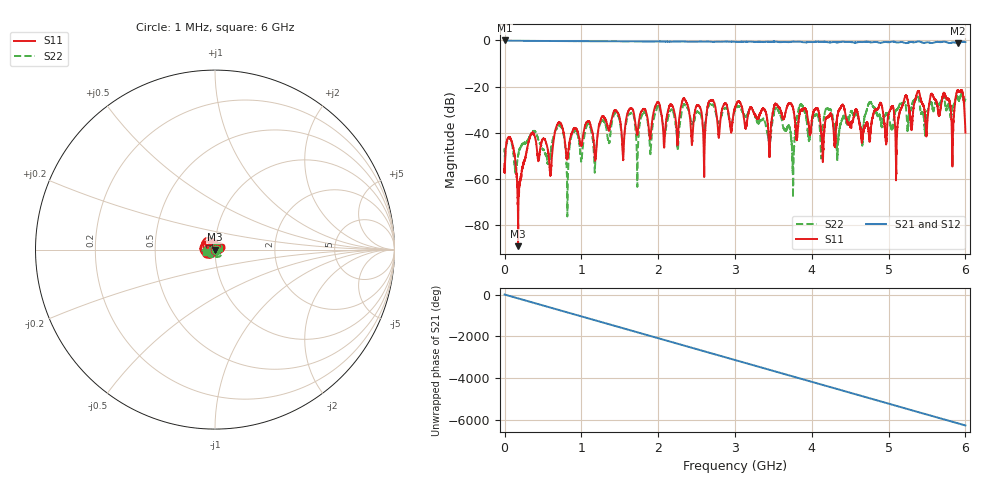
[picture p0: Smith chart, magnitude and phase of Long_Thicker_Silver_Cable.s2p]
# GHZ S RI R 50.000000000000
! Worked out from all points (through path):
!   10000 points, 1 MHz to 6 GHz, reference 50 ohm
!   highest |S21| = -0.01 dB at 1.6 MHz (marker M1); lowest = -1.2 dB at 5.897 GHz (marker M2)
!   group delay of S21, straight-line fit = 2.9 ns
!   lowest |S11| = -89.1 dB at 176.2 MHz (marker M3), VSWR 1.00, Z = 50 + j0.00213 ohm
!   |S11| at or under -10 dB: start of sweep to end of sweep
!   |S22| runs from -76.3 to -22.7 dB; largest |S21 - S12| = 0.046
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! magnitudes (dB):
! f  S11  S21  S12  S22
! 1 MHz  -55.7  0.0  0.0  -48.6
! 1.6 MHz  -57.4  0.0  0.0  -46.9
! 81.99 MHz  -42.8  -0.1  -0.1  -43.2
! 176.2 MHz  -89.1  -0.1  -0.1  -49.8
! 356.2 MHz  -40.2  -0.2  -0.2  -39.9
! 593.8 MHz  -58.1  -0.3  -0.2  -50.0
! 704.2 MHz  -35.6  -0.3  -0.3  -36.9
! 1.001 GHz  -45.3  -0.3  -0.3  -51.7
! 2.001 GHz  -26.7  -0.4  -0.4  -28.4
! 2.598 GHz  -54.4  -0.5  -0.5  -38.7
! 2.681 GHz  -26.1  -0.5  -0.6  -27.6
! 3.001 GHz  -29.1  -0.6  -0.6  -30.3
! 3.45 GHz  -50.5  -0.6  -0.6  -45.4
! 3.549 GHz  -28.0  -0.6  -0.6  -29.6
! 3.753 GHz  -28.9  -0.6  -0.6  -55.9
! 3.85 GHz  -30.6  -0.6  -0.6  -27.9
! 4.001 GHz  -34.6  -0.7  -0.7  -36.5
! 5 GHz  -31.9  -0.8  -0.8  -33.3
! 5.385 GHz  -22.0  -0.4  -0.5  -24.4
! 5.834 GHz  -43.5  -0.9  -1.0  -28.9
! 5.897 GHz  -21.9  -1.2  -1.3  -24.6
! 6 GHz  -39.9  -0.7  -0.8  -25.3
